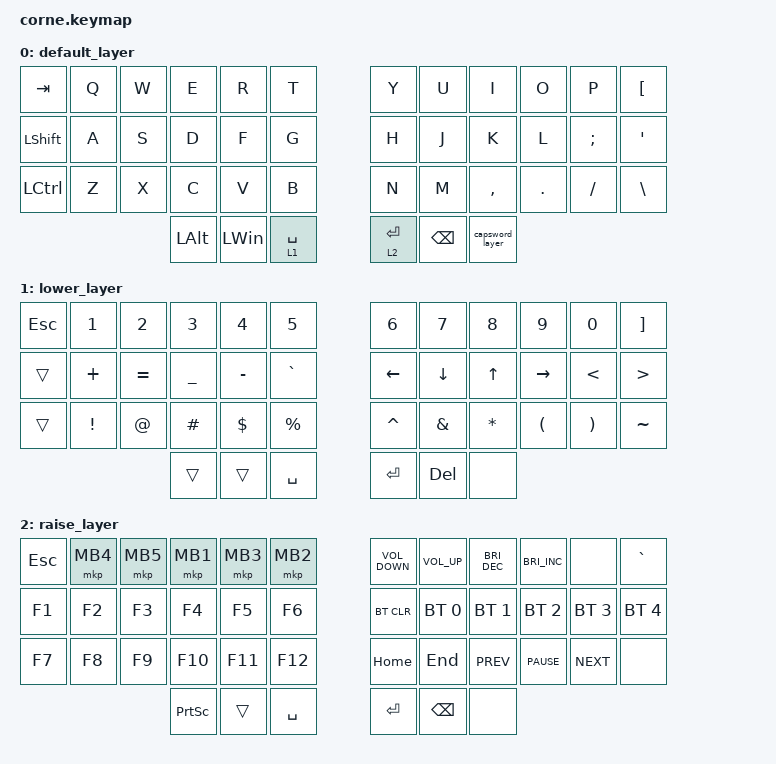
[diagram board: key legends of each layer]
/*
 * Copyright (c) 2020 The ZMK Contributors
 *
 * SPDX-License-Identifier: MIT
 */

#include <dt-bindings/zmk/mouse.h>
#include <behaviors.dtsi>
#include <dt-bindings/zmk/bt.h>
#include <dt-bindings/zmk/keys.h>
#include <dt-bindings/zmk/pointing.h>

/ {
    behaviors {
        capsword_layer: capsword_layer {
            compatible = "zmk,behavior-caps-word";
            label = "CAPSWORD_LAYER";
            #binding-cells = <0>;
            continue-list = <A B C D E F G H I J K L M N O P Q S R T U V W X Y Z MINUS UNDERSCORE>;
        };
    };

    combos {
        compatible = "zmk,combos";

        studio_unlock {
            bindings = <&studio_unlock>;
            key-positions = <35 23>;
        };
    };

    keymap {
        compatible = "zmk,keymap";

        default_layer {
            // -----------------------------------------------------------------------------------------
            // |  TAB |  Q  |  W  |  E  |  R  |  T  |   |  Y  |  U   |  I  |  O  |  P  | BKSP |
            // | CTRL |  A  |  S  |  D  |  F  |  G  |   |  H  |  J   |  K  |  L  |  ;  |  '   |
            // | SHFT |  Z  |  X  |  C  |  V  |  B  |   |  N  |  M   |  ,  |  .  |  /  | ESC  |
            //                    | GUI | LWR | SPC |   | ENT | RSE  | ALT |

            bindings = <
&kp TAB         &kp Q  &kp W  &kp E         &kp R         &kp T          &kp Y        &kp U          &kp I            &kp O    &kp P          &kp LEFT_BRACKET
&kp LEFT_SHIFT  &kp A  &kp S  &kp D         &kp F         &kp G          &kp H        &kp J          &kp K            &kp L    &kp SEMICOLON  &kp SQT
&kp LCTRL       &kp Z  &kp X  &kp C         &kp V         &kp B          &kp N        &kp M          &kp COMMA        &kp DOT  &kp FSLH       &kp BACKSLASH
                              &kp LEFT_ALT  &kp LEFT_WIN  &lt 1 SPACE    &lt 2 ENTER  &kp BACKSPACE  &capsword_layer
            >;
        };

        lower_layer {
            // -----------------------------------------------------------------------------------------
            // |  TAB |  1  |  2  |  3  |  4  |  5  |   |  6  |  7  |  8  |  9  |  0  | BKSP |
            // | BTCLR| BT1 | BT2 | BT3 | BT4 | BT5 |   | LFT | DWN |  UP | RGT |     |      |
            // | SHFT |     |     |     |     |     |   |     |     |     |     |     |      |
            //                    | GUI |     | SPC |   | ENT |     | ALT |

            bindings = <
&kp ESCAPE  &kp N1           &kp N2       &kp N3          &kp N4      &kp N5         &kp N6     &kp N7         &kp N8        &kp N9                &kp N0                 &kp RIGHT_BRACKET
&trans      &kp PLUS         &kp EQUAL    &kp UNDERSCORE  &kp MINUS   &kp GRAVE      &kp LEFT   &kp DOWN       &kp UP        &kp RIGHT             &kp LESS_THAN          &kp GREATER_THAN
&trans      &kp EXCLAMATION  &kp AT_SIGN  &kp HASH        &kp DOLLAR  &kp PERCENT    &kp CARET  &kp AMPERSAND  &kp ASTERISK  &kp LEFT_PARENTHESIS  &kp RIGHT_PARENTHESIS  &kp TILDE
                                          &trans          &trans      &kp SPACE      &kp RET    &kp DELETE     &none
            >;
        };

        raise_layer {
            // -----------------------------------------------------------------------------------------
            // |  TAB |  !  |  @  |  #  |  $  |  %  |   |  ^  |  &  |  *  |  (  |  )  | BKSP |
            // | CTRL |     |     |     |     |     |   |  -  |  =  |  [  |  ]  |  \  |  `   |
            // | SHFT |     |     |     |     |     |   |  _  |  +  |  {  |  }  | "|" |  ~   |
            //                    | GUI |     | SPC |   | ENT |     | ALT |

            bindings = <
&kp ESCAPE  &mkp MB4  &mkp MB5  &mkp MB1         &mkp MB3  &mkp MB2     &kp C_VOLUME_DOWN  &kp C_VOLUME_UP  &kp C_BRIGHTNESS_DEC  &kp C_BRIGHTNESS_INC  &none         &kp GRAVE
&kp F1      &kp F2    &kp F3    &kp F4           &kp F5    &kp F6       &bt BT_CLR         &bt BT_SEL 0     &bt BT_SEL 1          &bt BT_SEL 2          &bt BT_SEL 3  &bt BT_SEL 4
&kp F7      &kp F8    &kp F9    &kp F10          &kp F11   &kp F12      &kp HOME           &kp END          &kp C_PREV            &kp C_PAUSE           &kp C_NEXT    &none
                                &kp PRINTSCREEN  &trans    &kp SPACE    &kp RET            &kp BACKSPACE    &none
            >;
        };
    };
};
